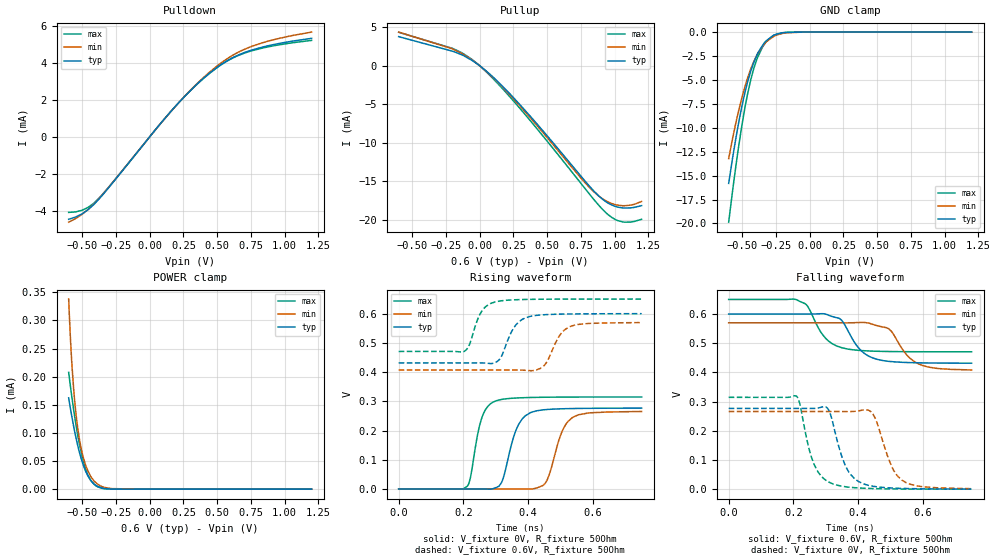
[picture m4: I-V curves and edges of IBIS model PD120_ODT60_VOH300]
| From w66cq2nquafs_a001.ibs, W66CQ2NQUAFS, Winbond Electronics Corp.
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[Model]   PD120_ODT60_VOH300
Model_type   I/O
Polarity   Non-Inverting
Enable   Active-Low
Vinl = 0.08
Vinh = 0.22
Vmeas = 0.15
Vref = 0
Cref = 0pF
Rref = 60
|   typ   min   max
C_comp   0.85pF   0.80pF   0.90pF
[Voltage Range]   0.6   0.57   0.65
[Temperature Range]   25   125   -40
[Pullup Reference]   0.6   0.57   0.65
[Pulldown Reference]   0   0   0
[Power Clamp Reference]   0.6   0.57   0.65
[GND Clamp Reference]   0   0   0
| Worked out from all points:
|   slope of the pulldown table from 0 to 0.09 V, typ, clamps not added: 112 ohm
|   slope of the pullup table from 0 to 0.09 V, typ, clamps not added: 67.9 ohm
|   GND clamp passes 1 mA (typ) near -0.33 V on its own axis
|   falling waveform, V_fixture 0.6V, R_fixture 50Ohm: 20-80 % time 62.2ps typ, 64.5ps min, 59.1ps max; typ from 0.6 V to 0.432 V
|   rising waveform, V_fixture 0V, R_fixture 50Ohm: 20-80 % time 43.2ps typ, 45.5ps min, 34.1ps max; typ from 0 V to 0.277 V
|   rising waveform, V_fixture 0.6V, R_fixture 50Ohm: 20-80 % time 43.9ps typ, 45.7ps min, 38.1ps max; typ from 0.431 V to 0.6 V
|   falling waveform, V_fixture 0V, R_fixture 50Ohm: 20-80 % time 50.1ps typ, 52.5ps min, 47ps max; typ from 0.277 V to 0 V
[Pulldown]
|   Voltage   I(typ)   I(min)   I(max)
-600mV    -4.454mA   -4.612mA   -4.083mA
-501.9mV  -4.163mA   -4.191mA   -3.969mA
-458.3mV  -3.947mA   -3.938mA   -3.822mA
-411.3mV  -3.64mA    -3.614mA   -3.569mA
-301.2mV  -2.725mA   -2.705mA   -2.697mA
170.9mV   1.487mA    1.485mA    1.484mA
343.2mV   2.797mA    2.818mA    2.788mA
507.6mV   3.801mA    3.877mA    3.785mA
622mV     4.303mA    4.437mA    4.283mA
761.4mV   4.701mA    4.904mA    4.662mA
940.2mV   5.019mA    5.289mA    4.95mA
1.2V      5.325mA    5.662mA    5.215mA
[GND Clamp]
|   Voltage   I(typ)   I(min)   I(max)
-600mV    -15.82mA   -13.22mA   -19.87mA
-544.7mV  -10.94mA   -9.367mA   -13.81mA
-501.9mV  -7.752mA   -6.842mA   -9.731mA
-477.2mV  -6.185mA   -5.585mA   -7.711mA
-436.9mV  -4.101mA   -3.872mA   -5.009mA
-391.3mV  -2.423mA   -2.427mA   -2.848mA
-347.8mV  -1.358mA   -1.453mA   -1.525mA
-319.9mV  -887.9uA   -995.6uA   -966uA
-270.5mV  -362.1uA   -487.2uA   -375.3uA
-202.2mV  -84.22uA   -140.1uA   -67.25uA
-59.4mV   -1.448uA   -6.771uA   -406.3nA
1.2V      0A         0A         0A
[Pullup]
|   Voltage   I(typ)   I(min)   I(max)
-600mV    3.769mA    4.359mA    4.335mA
-202.9mV  1.884mA    2.19mA     2.257mA
-59.4mV   716.3uA    781.1uA    845.4uA
64.8mV    -933.3uA   -979.3uA   -1.064mA
228.1mV   -3.726mA   -3.857mA   -4.118mA
443.4mV   -7.927mA   -8.138mA   -8.567mA
755.5mV   -14.43mA   -14.67mA   -15.36mA
881.3mV   -16.86mA   -16.88mA   -18.07mA
953.8mV   -17.84mA   -17.69mA   -19.34mA
1.025V    -18.34mA   -18.09mA   -20.09mA
1.118V    -18.43mA   -18.08mA   -20.27mA
1.2V      -18.15mA   -17.6mA    -19.91mA
[POWER Clamp]
|   Voltage   I(typ)   I(min)   I(max)
-600mV    162.4uA    337.9uA    207.7uA
-588mV    144.9uA    273.1uA    184.8uA
-581.8mV  136.1uA    244.7uA    173.3uA
-562.3mV  110.7uA    175.4uA    139.7uA
-544.7mV  90.1uA     131.2uA    112.5uA
-519.6mV  64.94uA    87.8uA     79.57uA
-491.7mV  42.74uA    56.39uA    50.25uA
-458.3mV  23.83uA    32.88uA    25.56uA
-435.6mV  15.23uA    22.23uA    15.4uA
-384mV    4.679uA    8.536uA    4.061uA
-286.5mV  281nA      1.007uA    101.1nA
1.2V      0A         0A         0A
[Ramp]
R_load = 50
|   typ   min   max
dV/dt_r 1.6598E-01/4.3085E-11   1.5904E-01/4.5315E-11   1.8882E-01/3.3997E-11
dV/dt_f 1.0106E-01/6.2126E-11   9.6892E-02/6.4442E-11   1.0760E-01/5.9031E-11
[Falling Waveform]
V_fixture = 0.6V
V_fixture_min = 0.57V
V_fixture_max = 0.65V
R_fixture = 50Ohm
C_fixture = 0F
|   Time   V(typ)   V(min)   V(max)
0s        600mV      570mV      650mV
209ps     600mV      570mV      649.5mV
243ps     600mV      570mV      627.8mV
301ps     599.3mV    570mV      515mV
348ps     579.6mV    570mV      485mV
431ps     456.7mV    569.3mV    473.6mV
494ps     437.9mV    549.7mV    471.7mV
548ps     434mV      462.1mV    471.1mV
588ps     432.9mV    428.3mV    470.9mV
750ps     431.6mV    408.5mV    470.7mV
[Rising Waveform]
V_fixture = 0V
V_fixture_min = 0V
V_fixture_max = 0V
R_fixture = 50Ohm
C_fixture = 0F
|   Time   V(typ)   V(min)   V(max)
0s        7.087uV    57.39uV    1.39uV
211ps     6.845uV    57.39uV    8.341mV
255ps     -3.45uV    57.45uV    237.5mV
300ps     4.373mV    57.14uV    301.4mV
365ps     208.5mV    70.54uV    311.4mV
406ps     260.5mV    -581.4uV   313mV
458ps     271.9mV    29.87mV    314mV
502ps     274.3mV    190.2mV    314.4mV
536ps     275.2mV    244.2mV    314.5mV
750ps     276.6mV    265.1mV    314.7mV
[Rising Waveform]
V_fixture = 0.6V
V_fixture_min = 0.57V
V_fixture_max = 0.65V
R_fixture = 50Ohm
C_fixture = 0F
|   Time   V(typ)   V(min)   V(max)
0s        431.4mV    407mV      470.7mV
202ps     431.4mV    407mV      470.5mV
255ps     431.5mV    407mV      605.9mV
300ps     433.7mV    407mV      640.7mV
354ps     549.1mV    407.1mV    647.3mV
391ps     585.5mV    406.1mV    648.6mV
446ps     596.2mV    419.1mV    649.5mV
494ps     598.3mV    520.3mV    649.8mV
529ps     598.9mV    555.8mV    649.9mV
750ps     600mV      569.5mV    650mV
[Falling Waveform]
|Gnd
V_fixture = 0V
V_fixture_min = 0V
V_fixture_max = 0V
R_fixture = 50Ohm
C_fixture = 0F
|   Time   V(typ)   V(min)   V(max)
0s        276.7mV    266.1mV    314.7mV
209ps     276.7mV    266.1mV    319mV
263ps     276.5mV    266.1mV    87.04mV
300ps     281.7mV    266.1mV    30.53mV
321ps     229.9mV    266.1mV    18.37mV
359ps     83.4mV     265.9mV    8.54mV
402ps     25.59mV    268.6mV    4.07mV
446ps     9.889mV    256.2mV    2.003mV
536ps     2.631mV    30.07mV    494uV
750ps     183.6uV    1.629mV    -14uV
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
